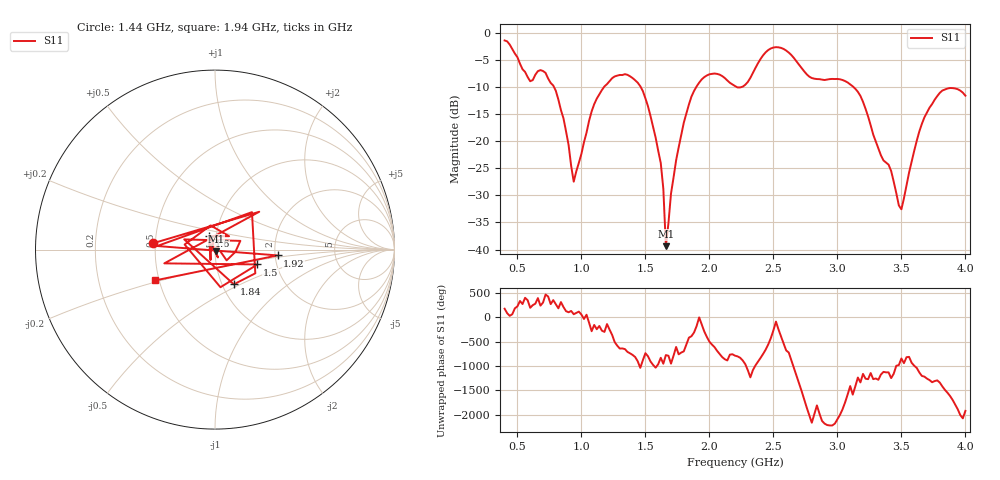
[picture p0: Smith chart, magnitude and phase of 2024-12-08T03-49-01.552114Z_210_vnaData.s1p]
!Created with skrf (http://scikit-rf.org).
# Hz S RI R 50.0
!freq ReS11 ImS11
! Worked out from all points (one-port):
!   181 points, 400 MHz to 4 GHz, reference 50 ohm
!   lowest |S11| = -39.4 dB at 1.66 GHz (marker M1), VSWR 1.02, Z = 50.6 - j0.921 ohm
!   |S11| at or under -10 dB: 787.3 MHz to 1.175 GHz (387.4 MHz wide, 39.5 % of centre); 1.465 GHz to 1.896 GHz (430.8 MHz wide, 25.6 % of centre); 3.129 GHz to end of sweep (the widest 3 of 4)
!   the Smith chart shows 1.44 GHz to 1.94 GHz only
!   S11 on the Smith chart (normalised r, x): 1.44 GHz: 0.48, +0.04; 1.5 GHz: 1.59, -0.28; 1.6 GHz: 0.92, +0.14; 1.84 GHz: 1.13, -0.46; 1.92 GHz: 2.06, -0.15; 1.94 GHz: 0.48, -0.19
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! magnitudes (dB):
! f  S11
! 400 MHz  -1.3
! 600 MHz  -8.9
! 720 MHz  -7.3
! 860 MHz  -15.7
! 940 MHz  -27.4
! 1.1 GHz  -13.1
! 1.3 GHz  -7.7
! 1.44 GHz  -9.1
! 1.5 GHz  -12.0
! 1.6 GHz  -21.7
! 1.64 GHz  -28.8
! 1.66 GHz  -39.4
! 1.7 GHz  -29.6
! 1.76 GHz  -21.1
! 1.84 GHz  -13.1
! 1.92 GHz  -9.1
! 1.94 GHz  -8.5
! 2.2 GHz  -9.7
! 2.48 GHz  -2.8
! 2.66 GHz  -4.6
! 2.8 GHz  -8.3
! 3.1 GHz  -9.4
! 3.2 GHz  -12.7
! 3.5 GHz  -32.6
! 3.56 GHz  -25.8
! 3.66 GHz  -16.7
! 3.78 GHz  -11.6
! 4 GHz  -11.5
